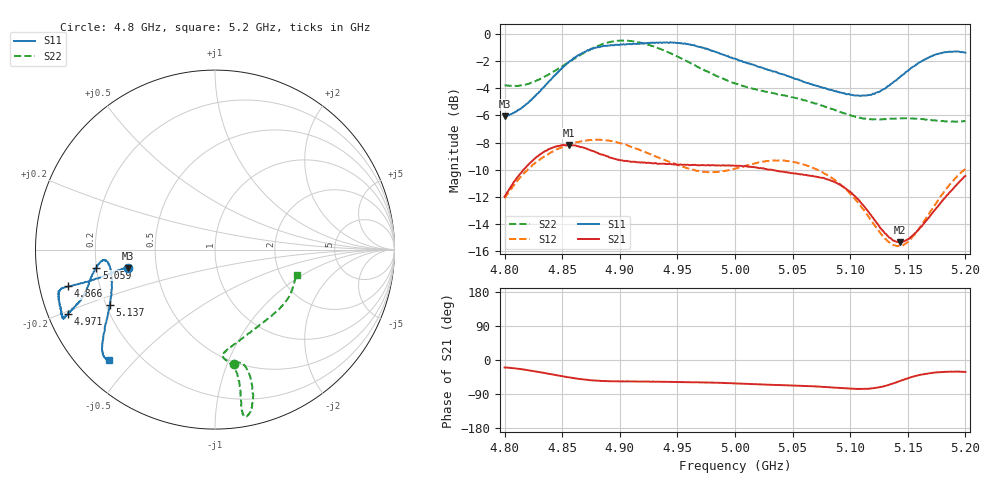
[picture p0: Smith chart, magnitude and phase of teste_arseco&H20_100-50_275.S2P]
! Network Analyzer HP8722D
! Hewlett-Packard
! Data name: Linha & Wilkinson
! Saver's name: Rodrigo Anjos
! Comments: Teste da utilização de aquisição
! continua pelo VNA HP8722D
! Time and date: 6/5/2025 14:51
!  Frequency  S11  S21  S12  S22
# HZ  S  MA R 50
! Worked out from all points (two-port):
!   401 points, 4.8 GHz to 5.2 GHz, reference 50 ohm
!   highest |S21| = -8.17 dB at 4.856 GHz (marker M1); lowest = -15.3 dB at 5.143 GHz (marker M2)
!   |S21| within 3 dB of the highest: 4.806 GHz to 5.092 GHz (286.5 MHz wide, 5.79 % of centre); 5.191739 GHz to end of sweep
!   lowest |S11| = -6.1 dB at 4.8 GHz (marker M3), VSWR 2.97, Z = 17 - j4.58 ohm
!   |S11| at or under -10 dB: nowhere
!   |S22| runs from -6.5 to -0.5 dB; largest |S21 - S12| = 0.62
!   S11 on the Smith chart (normalised r, x): 4.8 GHz: 0.34, -0.09; 4.866 GHz: 0.09, -0.12; 4.971 GHz: 0.06, -0.21; 5.059 GHz: 0.20, -0.07; 5.137 GHz: 0.22, -0.24; 5.2 GHz: 0.09, -0.42
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4.8e9  0.4967 -168.2  0.2522 -19.7  0.2484 -140.9  0.647 -80.4
4.829e9  0.6034 -167.0  0.3546 -31.2  0.342 -145.0  0.6769 -75.2
4.856e9  0.7899 -165.8  0.3904 -45.8  0.3917 -150.1  0.7885 -74.8
4.866e9  0.8421 -166.0  0.3835 -50.2  0.4023 -151.9  0.8381 -75.3
4.867e9  0.8466 -165.8  0.3832 -50.8  0.4027 -152.0  0.843 -75.4
4.88e9  0.891 -165.4  0.366 -54.5  0.4082 -154.2  0.8999 -76.7
4.9e9  0.9127 -162.6  0.343 -56.4  0.3963 -156.6  0.9434 -79.1
4.934e9  0.9276 -156.4  0.3331 -57.5  0.3508 -155.6  0.8836 -80.4
4.971e9  0.8914 -156.4  0.329 -59.3  0.3118 -146.5  0.7452 -79.6
5e9  0.8102 -158.9  0.3273 -61.8  0.3197 -137.2  0.6569 -81.4
5.035e9  0.7252 -165.2  0.3146 -65.9  0.3422 -134.4  0.6032 -85.6
5.059e9  0.6678 -171.4  0.3035 -68.3  0.3312 -136.1  0.5707 -84.5
5.067e9  0.6518 -173.1  0.3006 -69.2  0.3229 -136.7  0.5593 -82.6
5.082e9  0.6218 -174.7  0.2901 -71.9  0.2993 -138.2  0.533 -77.1
5.102e9  0.5963 -171.6  0.2576 -75.9  0.253 -138.7  0.4984 -65.9
5.116e9  0.5958 -165.5  0.2209 -75.9  0.2126 -135.5  0.4859 -55.8
5.134e9  0.6459 -154.4  0.1778 -65.1  0.1709 -120.7  0.4875 -43.2
5.137e9  0.6606 -152.3  0.1741 -62.2  0.1675 -116.8  0.4876 -41.3
5.143e9  0.6924 -149.3  0.1712 -55.8  0.1659 -108.9  0.4892 -38.1
5.155e9  0.7583 -144.1  0.1823 -43.4  0.181 -94.0  0.4874 -31.9
5.174e9  0.8394 -138.6  0.2268 -32.8  0.2363 -80.3  0.4804 -23.8
5.2e9  0.8527 -133.6  0.3003 -31.4  0.3188 -76.9  0.4778 -17.5
